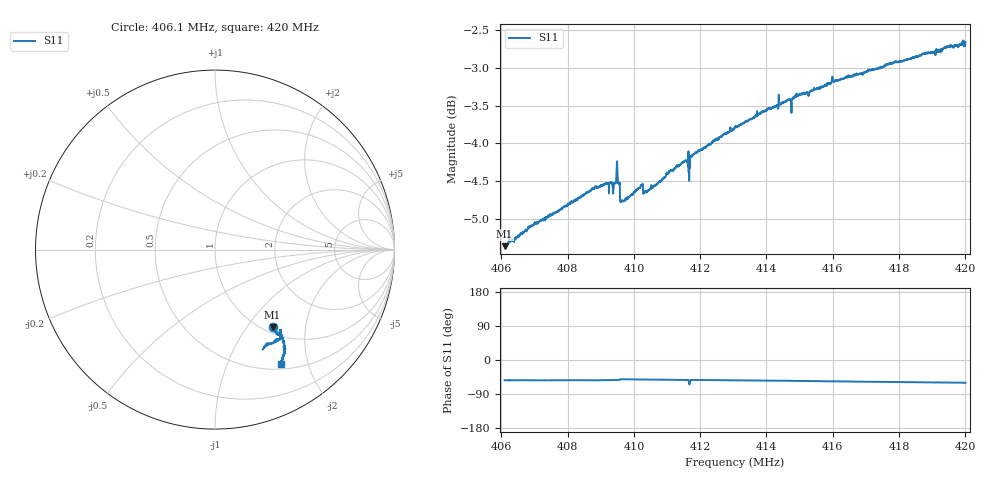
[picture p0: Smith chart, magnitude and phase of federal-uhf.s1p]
! Calibrated averaged scanner-service zoom
# Hz S RI R 50
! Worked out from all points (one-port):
!   2001 points, 406.1 MHz to 420 MHz, reference 50 ohm
!   lowest |S11| = -5.4 dB at 406.1 MHz (marker M1), VSWR 3.34, Z = 54.6 - j66.8 ohm
!   |S11| at or under -10 dB: nowhere
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4.061e8  0.3209 -0.4337
4.069062e8  0.3302 -0.4478
4.078375e8  0.3401 -0.4589
4.088036e8  0.3506 -0.473
4.09151e8  0.3563 -0.4738
4.093943e8  0.3574 -0.4712
4.094638e8  0.3623 -0.4732
4.095055e8  0.3649 -0.4803
4.09575e8  0.3632 -0.4702
4.096584e8  0.3659 -0.4482
4.102005e8  0.3686 -0.4625
4.10416e8  0.3643 -0.4605
4.113125e8  0.3713 -0.4832
4.115766e8  0.3735 -0.4879
4.115905e8  0.3734 -0.4882
4.116183e8  0.3712 -0.4882
4.116322e8  0.3714 -0.4878
4.117226e8  0.3751 -0.491
4.117364e8  0.3753 -0.4907
4.117642e8  0.376 -0.4922
4.117782e8  0.3765 -0.4926
4.1305e8  0.3833 -0.5215
4.139188e8  0.3862 -0.5384
4.147875e8  0.3877 -0.5541
4.159968e8  0.3891 -0.5784
4.16525e8  0.3838 -0.5842
4.182625e8  0.3751 -0.6113
4.2e8  0.3678 -0.6371
